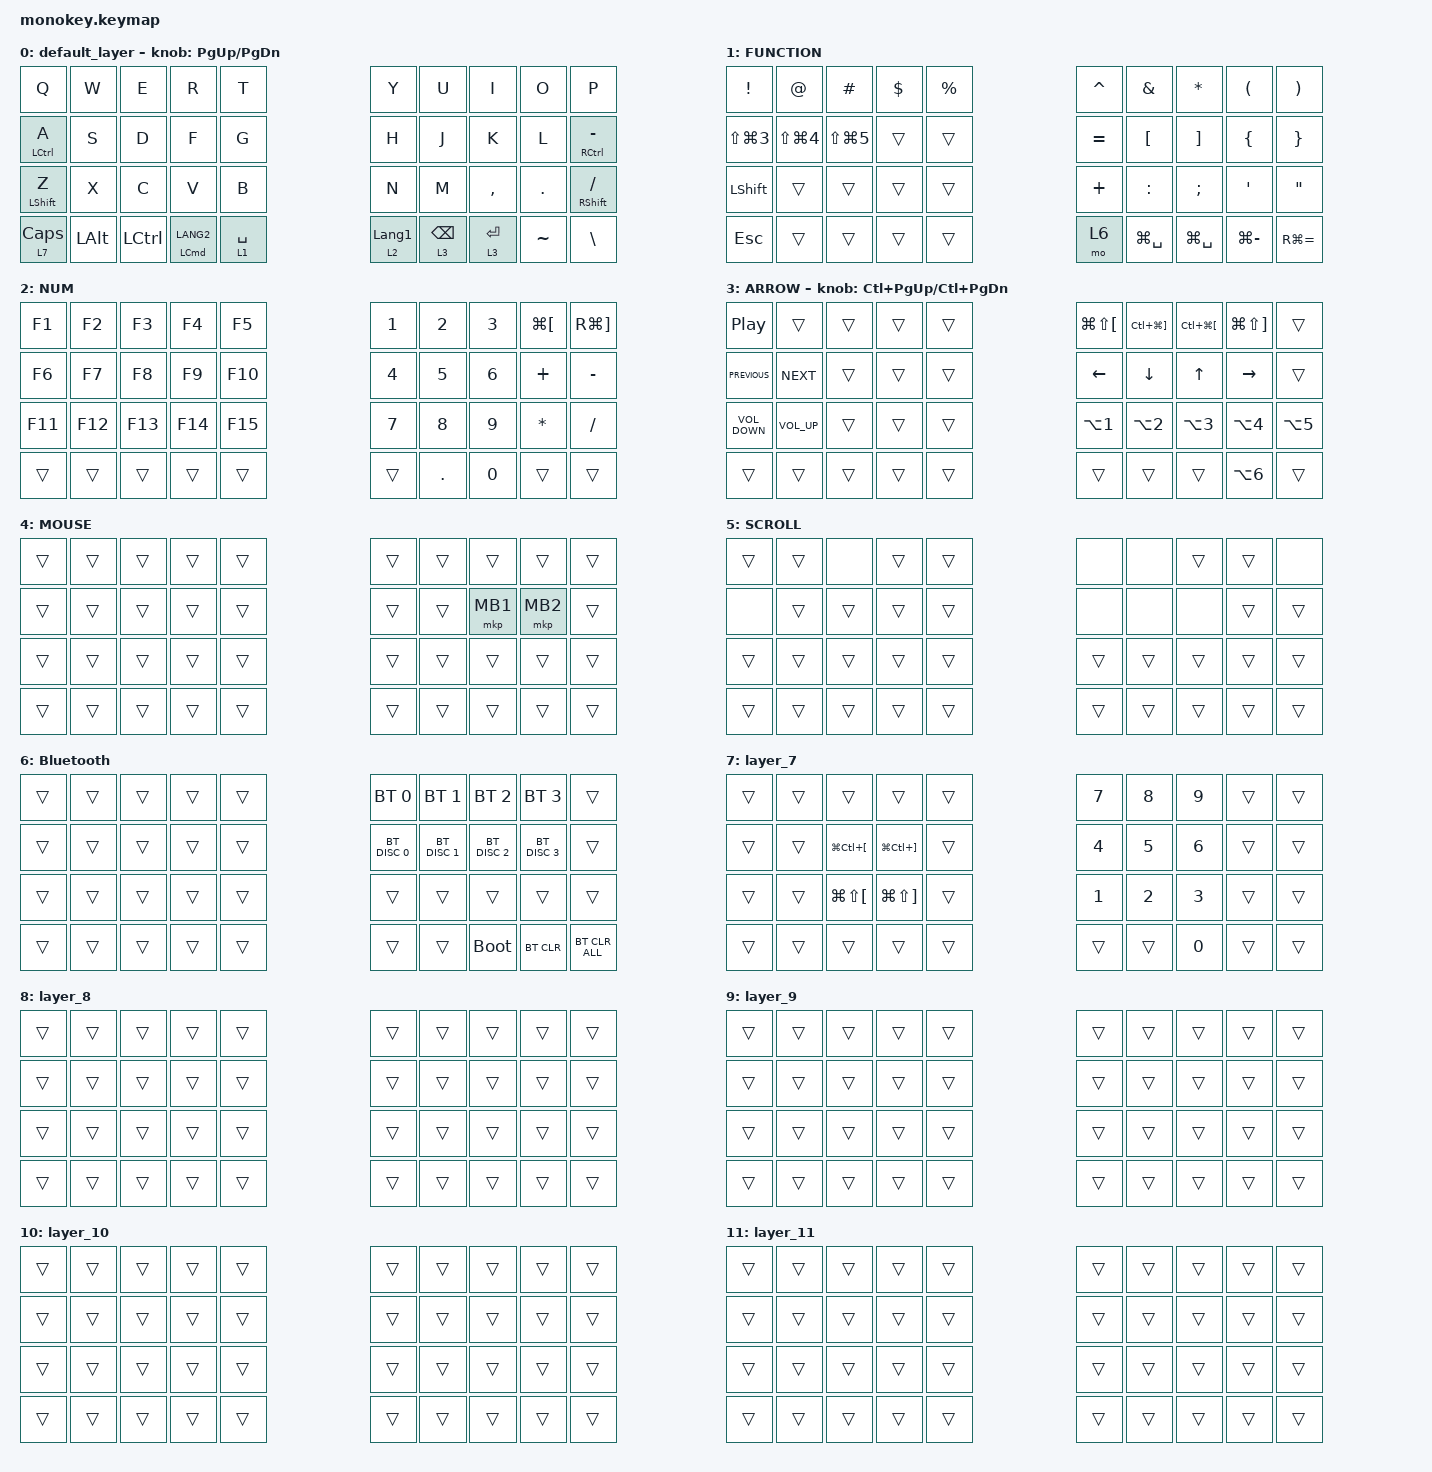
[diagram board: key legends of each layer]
#include <behaviors.dtsi>
#include <dt-bindings/zmk/bt.h>
#include <dt-bindings/zmk/keys.h>
#include <dt-bindings/zmk/pointing.h>

#define MOUSE 4
#define SCROLL 5
#define NUM 6

&mt {
    flavor = "balanced";
    quick-tap-ms = <300>;
};

&lt { quick-tap-ms = <300>; };

/ {
    combos {
        compatible = "zmk,combos";

        scroll {
            bindings = <&mo 5>;
            key-positions = <17 18>;
        };

        esc {
            bindings = <&kp ESC>;
            key-positions = <0 1>;
        };

        tab {
            bindings = <&kp TAB>;
            key-positions = <11 12>;
        };

        s-tab {
            bindings = <&kp LS(TAB)>;
            key-positions = <12 13>;
        };

        quote {
            bindings = <&kp SINGLE_QUOTE>;
            key-positions = <18 19>;
        };

        semi-colon {
            bindings = <&kp SEMICOLON>;
            key-positions = <15 16>;
        };

        mb4 {
            bindings = <&mkp MB4>;
            key-positions = <6 7>;
            layers = <4>;
        };

        mb5 {
            bindings = <&mkp MB5>;
            key-positions = <7 8>;
            layers = <4>;
        };

        colon {
            bindings = <&kp COLON>;
            key-positions = <16 17>;
        };

        capslock {
            bindings = <&none>;
            key-positions = <39 38>;
        };
    };

    behaviors {
        right_click: right_click_behavior {
            compatible = "zmk,behavior-mouse-key";
            label = "RIGHT_CLICK";
            #binding-cells = <0>;

            // 右クリックは通常 MB2 に対応（ZMKの標準定義）

            bindings = <&mkp MB2>;
        };
    };

    keymap {
        compatible = "zmk,keymap";

        default_layer {
            bindings = <
&kp Q             &kp W         &kp E             &kp R                   &kp T                                           &kp Y        &kp U  &kp I      &kp O       &kp P
&mt LCTRL A       &kp S         &kp D             &kp F                   &kp G                                           &kp H        &kp J  &kp K      &kp L       &mt RCTRL MINUS
&mt LEFT_SHIFT Z  &kp X         &kp C             &kp V                   &kp B                                           &kp N        &kp M  &kp COMMA  &kp PERIOD  &mt RIGHT_SHIFT SLASH
&lt 7 CLCK        &kp LEFT_ALT  &kp LEFT_CONTROL  &mt LEFT_COMMAND LANG2  &lt 1 SPACE  &lt 2 LANGUAGE_1  &lt 3 BACKSPACE  &lt 3 ENTER                    &kp TILDE   &kp BACKSLASH
            >;

            sensor-bindings = <&inc_dec_kp PG_UP PAGE_DOWN>;
        };

        FUNCTION {
            bindings = <
&kp EXCLAMATION       &kp AT_SIGN           &kp HASH        &kp DOLLAR  &kp PERCENT                        &kp CARET      &kp AMPERSAND     &kp ASTERISK       &kp LEFT_PARENTHESIS  &kp RIGHT_PARENTHESIS
&kp LS(LG(NUMBER_3))  &kp LS(LG(NUMBER_4))  &kp LS(LG(N5))  &trans      &trans                             &kp EQUAL      &kp LEFT_BRACKET  &kp RIGHT_BRACKET  &kp LEFT_BRACE        &kp RIGHT_BRACE
&kp LEFT_SHIFT        &trans                &trans          &trans      &trans                             &kp PLUS       &kp COLON         &kp SEMI           &kp SINGLE_QUOTE      &kp DOUBLE_QUOTES
&kp ESCAPE            &trans                &trans          &trans      &trans       &mo 6  &kp LG(SPACE)  &kp LG(SPACE)                                       &kp LG(MINUS)         &kp RG(EQUAL)
            >;
        };

        NUM {
            bindings = <
&kp F1   &kp F2   &kp F3   &kp F4   &kp F5                       &kp NUMBER_1  &kp NUMBER_2  &kp NUMBER_3  &kp LG(LEFT_BRACKET)  &kp RG(RIGHT_BRACKET)
&kp F6   &kp F7   &kp F8   &kp F9   &kp F10                      &kp NUMBER_4  &kp N5        &kp NUMBER_6  &kp PLUS              &kp MINUS
&kp F11  &kp F12  &kp F13  &kp F14  &kp F15                      &kp N7        &kp N8        &kp N9        &kp ASTERISK          &kp SLASH
&trans   &trans   &trans   &trans   &trans   &trans  &kp PERIOD  &kp N0                                    &trans                &trans
            >;
        };

        ARROW {
            bindings = <
&kp C_PLAY_PAUSE   &trans           &trans  &trans  &trans                  &kp LG(LS(LEFT_BRACKET))  &kp LC(LG(RIGHT_BRACKET))  &kp LC(LG(LEFT_BRACKET))  &kp LG(LS(RIGHT_BRACKET))  &trans
&kp C_PREVIOUS     &kp C_NEXT       &trans  &trans  &trans                  &kp LEFT                  &kp DOWN_ARROW             &kp UP_ARROW              &kp RIGHT_ARROW            &trans
&kp C_VOLUME_DOWN  &kp C_VOLUME_UP  &trans  &trans  &trans                  &kp LA(N1)                &kp LA(N2)                 &kp LA(N3)                &kp LA(N4)                 &kp LA(N5)
&trans             &trans           &trans  &trans  &trans  &trans  &trans  &trans                                                                         &kp LA(N6)                 &trans
            >;

            sensor-bindings = <&inc_dec_kp LC(PAGE_UP) LC(PAGE_DOWN)>;
        };

        MOUSE {
            bindings = <
&trans  &trans  &trans  &trans  &trans                  &trans  &trans  &trans    &trans    &trans
&trans  &trans  &trans  &trans  &trans                  &trans  &trans  &mkp MB1  &mkp MB2  &trans
&trans  &trans  &trans  &trans  &trans                  &trans  &trans  &trans    &trans    &trans
&trans  &trans  &trans  &trans  &trans  &trans  &trans  &trans                    &trans    &trans
            >;
        };

        SCROLL {
            bindings = <
&trans  &trans  &none   &trans  &trans                  &none   &none   &trans  &trans  &none
&none   &trans  &trans  &trans  &trans                  &none   &none   &none   &trans  &trans
&trans  &trans  &trans  &trans  &trans                  &trans  &trans  &trans  &trans  &trans
&trans  &trans  &trans  &trans  &trans  &trans  &trans  &trans                  &trans  &trans
            >;
        };

        Bluetooth {
            bindings = <
&trans  &trans  &trans  &trans  &trans                  &bt BT_SEL 0   &bt BT_SEL 1   &bt BT_SEL 2   &bt BT_SEL 3   &trans
&trans  &trans  &trans  &trans  &trans                  &bt BT_DISC 0  &bt BT_DISC 1  &bt BT_DISC 2  &bt BT_DISC 3  &trans
&trans  &trans  &trans  &trans  &trans                  &trans         &trans         &trans         &trans         &trans
&trans  &trans  &trans  &trans  &trans  &trans  &trans  &bootloader                                  &bt BT_CLR     &bt BT_CLR_ALL
            >;
        };

        layer_7 {
            bindings = <
&trans  &trans  &trans                    &trans                     &trans                  &kp N7        &kp N8        &kp N9        &trans  &trans
&trans  &trans  &kp LG(LC(LEFT_BRACKET))  &kp LG(LC(RIGHT_BRACKET))  &trans                  &kp NUMBER_4  &kp N5        &kp NUMBER_6  &trans  &trans
&trans  &trans  &kp LG(LS(LEFT_BRACKET))  &kp LG(LS(RIGHT_BRACKET))  &trans                  &kp NUMBER_1  &kp NUMBER_2  &kp NUMBER_3  &trans  &trans
&trans  &trans  &trans                    &trans                     &trans  &trans  &trans  &kp N0                                    &trans  &trans
            >;
        };

        layer_8 {
            bindings = <
&trans  &trans  &trans  &trans  &trans                  &trans  &trans  &trans  &trans  &trans
&trans  &trans  &trans  &trans  &trans                  &trans  &trans  &trans  &trans  &trans
&trans  &trans  &trans  &trans  &trans                  &trans  &trans  &trans  &trans  &trans
&trans  &trans  &trans  &trans  &trans  &trans  &trans  &trans                  &trans  &trans
            >;
        };

        layer_9 {
            bindings = <
&trans  &trans  &trans  &trans  &trans                  &trans  &trans  &trans  &trans  &trans
&trans  &trans  &trans  &trans  &trans                  &trans  &trans  &trans  &trans  &trans
&trans  &trans  &trans  &trans  &trans                  &trans  &trans  &trans  &trans  &trans
&trans  &trans  &trans  &trans  &trans  &trans  &trans  &trans                  &trans  &trans
            >;
        };

        layer_10 {
            bindings = <
&trans  &trans  &trans  &trans  &trans                  &trans  &trans  &trans  &trans  &trans
&trans  &trans  &trans  &trans  &trans                  &trans  &trans  &trans  &trans  &trans
&trans  &trans  &trans  &trans  &trans                  &trans  &trans  &trans  &trans  &trans
&trans  &trans  &trans  &trans  &trans  &trans  &trans  &trans                  &trans  &trans
            >;
        };

        layer_11 {
            bindings = <
&trans  &trans  &trans  &trans  &trans                  &trans  &trans  &trans  &trans  &trans
&trans  &trans  &trans  &trans  &trans                  &trans  &trans  &trans  &trans  &trans
&trans  &trans  &trans  &trans  &trans                  &trans  &trans  &trans  &trans  &trans
&trans  &trans  &trans  &trans  &trans  &trans  &trans  &trans                  &trans  &trans
            >;
        };
    };
};
